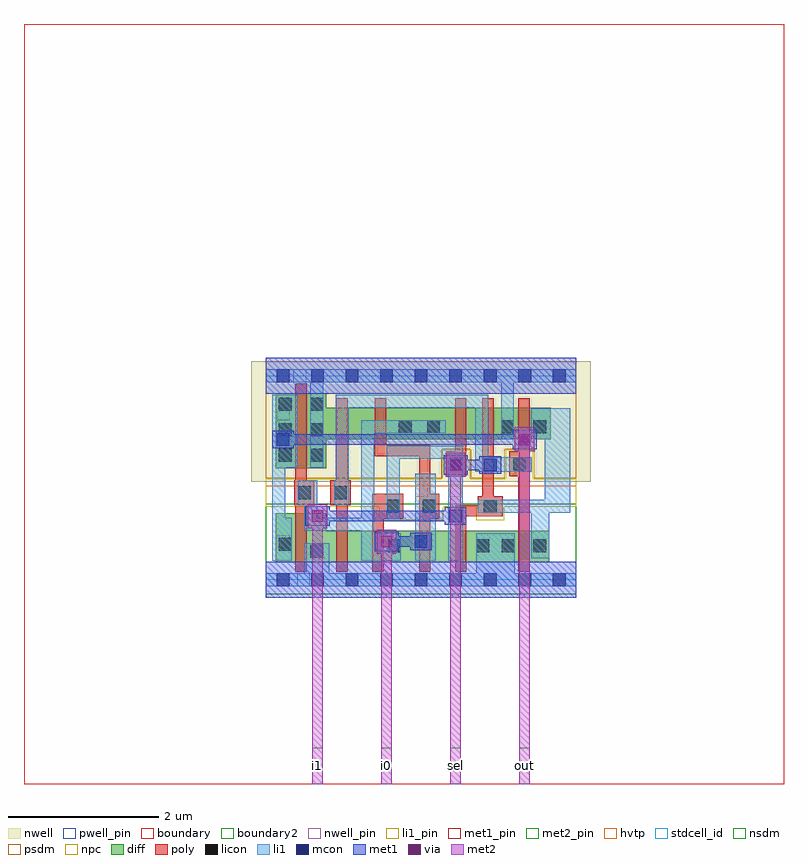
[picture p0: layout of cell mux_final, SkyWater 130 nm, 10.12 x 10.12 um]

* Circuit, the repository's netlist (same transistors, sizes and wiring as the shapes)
* NGSPICE file created from mux_final.ext - technology: sky130A

.subckt sky130_fd_sc_hd__mux2_1 A0 A1 S VGND VNB VPB VPWR X
X0 VPWR a_505_21# a_535_374# VPB sky130_fd_pr__pfet_01v8_hvt ad=0.0693 pd=0.75 as=0.0441 ps=0.63 w=0.42 l=0.15
X1 a_505_21# S VPWR VPB sky130_fd_pr__pfet_01v8_hvt ad=0.1176 pd=1.4 as=0.0693 ps=0.75 w=0.42 l=0.15
X2 a_218_374# S VPWR VPB sky130_fd_pr__pfet_01v8_hvt ad=0.07665 pd=0.785 as=0.15835 ps=1.395 w=0.42 l=0.15
X3 VGND a_505_21# a_439_47# VNB sky130_fd_pr__nfet_01v8 ad=0.1449 pd=1.11 as=0.0693 ps=0.75 w=0.42 l=0.15
X4 a_76_199# A0 a_218_374# VPB sky130_fd_pr__pfet_01v8_hvt ad=0.1932 pd=1.34 as=0.07665 ps=0.785 w=0.42 l=0.15
X5 a_505_21# S VGND VNB sky130_fd_pr__nfet_01v8 ad=0.1092 pd=1.36 as=0.1449 ps=1.11 w=0.42 l=0.15
X6 a_439_47# A0 a_76_199# VNB sky130_fd_pr__nfet_01v8 ad=0.0693 pd=0.75 as=0.09975 ps=0.895 w=0.42 l=0.15
X7 a_535_374# A1 a_76_199# VPB sky130_fd_pr__pfet_01v8_hvt ad=0.0441 pd=0.63 as=0.1932 ps=1.34 w=0.42 l=0.15
X8 a_76_199# A1 a_218_47# VNB sky130_fd_pr__nfet_01v8 ad=0.09975 pd=0.895 as=0.0693 ps=0.75 w=0.42 l=0.15
X9 a_218_47# S VGND VNB sky130_fd_pr__nfet_01v8 ad=0.0693 pd=0.75 as=0.11285 ps=1.045 w=0.42 l=0.15
X10 VPWR a_76_199# X VPB sky130_fd_pr__pfet_01v8_hvt ad=0.15835 pd=1.395 as=0.26 ps=2.52 w=1 l=0.15
X11 VGND a_76_199# X VNB sky130_fd_pr__nfet_01v8 ad=0.11285 pd=1.045 as=0.169 ps=1.82 w=0.65 l=0.15
.ends

.subckt mux_final i0 i1 out sel
X_4_ i0 i1 sel _4_/VGND VSUBS _4_/VPB _4_/VPWR out sky130_fd_sc_hd__mux2_1
.ends

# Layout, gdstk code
import gdstk
lib = gdstk.Library(unit=1e-6, precision=1e-09)
def R(c, l, rs):  # rectangles x0, y0, x1, y1
    for r in rs: c.add(gdstk.rectangle(r[:2], r[2:], *l))
def A(c, l, x, y, w, h, nx, ny, dx, dy):  # array of equal rectangles
    R(c, l, [(x+i*dx, y+j*dy, x+i*dx+w, y+j*dy+h) for i in range(nx) for j in range(ny)])
def P(c, l, *ps):  # polygons
    for p in ps: c.add(gdstk.Polygon(p, *l))
nwell_pin = (64, 16)
nwell = (64, 20)
diff = (65, 20)
poly = (66, 20)
licon = (66, 44)
li1_pin = (67, 16)
li1 = (67, 20)
mcon = (67, 44)
met1_pin = (68, 16)
met1 = (68, 20)
via = (68, 44)
met2_pin = (69, 16)
met2 = (69, 20)
hvtp = (78, 44)
stdcell_id = (81, 4)
nsdm = (93, 44)
psdm = (94, 20)
npc = (95, 20)
pwell_pin = (122, 16)
boundary = (235, 4)
boundary2 = (236, 0)

sky130_fd_sc_hd__mux2_1 = lib.new_cell('sky130_fd_sc_hd__mux2_1')
R(sky130_fd_sc_hd__mux2_1, nwell_pin, [(0.37,2.635,0.54,2.805)])
R(sky130_fd_sc_hd__mux2_1, nwell, [(-0.19,1.305,4.33,2.91)])
P(sky130_fd_sc_hd__mux2_1, diff, [(3.775,0.655),(0.805,0.655),(0.805,0.885),(0.135,0.885),(0.135,0.235),(3.775,0.235)],
  [(3.795,2.29),(0.805,2.29),(0.805,2.485),(0.135,2.485),(0.135,1.485),(0.805,1.485),(0.805,1.87),(3.795,1.87)])
P(sky130_fd_sc_hd__mux2_1, poly, [(0.65,1.325),(0.545,1.325),(0.545,2.615),(0.395,2.615),(0.395,1.325),(0.38,1.325),(0.38,0.995),(0.395,0.995),(0.395,0.105),(0.545,0.105),(0.545,0.995),(0.65,0.995)],
  [(1.13,1.325),(1.09,1.325),(1.09,2.42),(0.94,2.42),(0.94,1.325),(0.86,1.325),(0.86,0.995),(0.94,0.995),(0.94,0.105),(1.09,0.105),(1.09,0.995),(1.13,0.995)],
  [(3.515,2.42),(3.365,2.42),(3.365,1.71),(3.245,1.71),(3.245,1.38),(3.365,1.38),(3.365,0.105),(3.515,0.105)],
  [(3.155,1.115),(3.035,1.115),(3.035,2.42),(2.885,2.42),(2.885,1.115),(2.825,1.115),(2.825,0.995),(2.525,0.995),(2.525,0.105),(2.675,0.105),(2.675,0.845),(3.155,0.845)],
  [(2.675,2.42),(2.525,2.42),(2.525,1.71),(2.405,1.71),(2.405,1.38),(2.675,1.38)],
  [(1.835,1.145),(1.42,1.145),(1.42,0.105),(1.57,0.105),(1.57,0.815),(1.835,0.815)],
  [(2.315,1.145),(2.195,1.145),(2.195,1.795),(1.605,1.795),(1.605,2.42),(1.455,2.42),(1.455,1.645),(2.045,1.645),(2.045,0.105),(2.195,0.105),(2.195,0.815),(2.315,0.815)])
A(sky130_fd_sc_hd__mux2_1, licon, 0.175, 1.575, 0.17, 0.17, 1, 3, 0, 0.34)
A(sky130_fd_sc_hd__mux2_1, licon, 0.595, 1.575, 0.17, 0.17, 1, 3, 0, 0.34)
R(sky130_fd_sc_hd__mux2_1, licon, [(0.595,0.295,0.765,0.465), (1.63,0.37,1.8,0.54), (2.805,0.37,2.975,0.54), (3.145,0.37,3.315,0.54), (3.565,0.37,3.735,0.54), (0.175,0.39,0.345,0.56), (1.615,0.895,1.785,1.065), (2.095,0.895,2.265,1.065), (2.905,0.895,3.075,1.065), (0.43,1.075,0.6,1.245), (0.91,1.075,1.08,1.245), (2.455,1.46,2.625,1.63), (3.295,1.46,3.465,1.63), (1.775,1.955,1.945,2.125), (2.15,1.955,2.32,2.125), (3.135,1.955,3.305,2.125), (3.565,1.955,3.735,2.125)])
R(sky130_fd_sc_hd__mux2_1, li1_pin, [(0.15,0.425,0.32,0.595), (2.45,0.765,2.62,0.935), (1.99,1.105,2.16,1.275), (2.45,1.105,2.62,1.275), (2.91,1.445,3.08,1.615), (3.37,1.445,3.54,1.615), (0.15,1.785,0.32,1.955), (0.15,2.125,0.32,2.295)])
R(sky130_fd_sc_hd__mux2_1, li1, [(1.99,0.255,2.265,1.415)])
P(sky130_fd_sc_hd__mux2_1, li1, [(4.14,0.085),(3.315,0.085),(3.315,0.62),(2.805,0.62),(2.805,0.085),(0.845,0.085),(0.845,0.485),(0.515,0.485),(0.515,0.085),(0,0.085),(0,-0.085),(4.14,-0.085)],
  [(4.14,2.805),(0,2.805),(0,2.635),(0.595,2.635),(0.595,1.495),(0.765,1.495),(0.765,2.635),(3.135,2.635),(3.135,1.875),(3.305,1.875),(3.305,2.635),(4.14,2.635)],
  [(0.425,2.465),(0.09,2.465),(0.09,0.255),(0.345,0.255),(0.345,0.825),(0.26,0.825),(0.26,1.495),(0.425,1.495)],
  [(2.4,2.125),(1.275,2.125),(1.275,0.825),(0.685,0.825),(0.685,1.325),(0.43,1.325),(0.43,0.995),(0.515,0.995),(0.515,0.655),(1.27,0.655),(1.27,0.255),(1.8,0.255),(1.8,0.62),(1.445,0.62),(1.445,1.955),(2.4,1.955)],
  [(2.625,1.785),(1.615,1.785),(1.615,0.815),(1.785,0.815),(1.785,1.615),(2.435,1.615),(2.435,0.255),(2.625,0.255)],
  [(3.545,1.63),(2.965,1.63),(2.965,2.465),(0.935,2.465),(0.935,1.325),(0.91,1.325),(0.91,0.995),(1.105,0.995),(1.105,2.295),(2.795,2.295),(2.795,1.44),(3.545,1.44)],
  [(4.055,2.285),(3.54,2.285),(3.54,1.875),(3.715,1.875),(3.715,1.065),(2.825,1.065),(2.825,0.895),(3.535,0.895),(3.535,0.29),(3.78,0.29),(3.78,0.895),(4.055,0.895)])
A(sky130_fd_sc_hd__mux2_1, mcon, 0.145, -0.085, 0.17, 0.17, 9, 2, 0.46, 2.72)
R(sky130_fd_sc_hd__mux2_1, met1_pin, [(0.15,-0.085,0.32,0.085), (0.15,2.635,0.32,2.805)])
R(sky130_fd_sc_hd__mux2_1, hvtp, [(0,1.25,4.14,2.72)])
R(sky130_fd_sc_hd__mux2_1, stdcell_id, [(0,0,4.14,2.72)])
R(sky130_fd_sc_hd__mux2_1, nsdm, [(0,-0.19,4.14,1.015)])
P(sky130_fd_sc_hd__mux2_1, psdm, [(4.14,2.91),(0,2.91),(0,1.355),(2.345,1.355),(2.345,1.74),(2.735,1.74),(2.735,1.355),(3.185,1.355),(3.185,1.74),(3.575,1.74),(3.575,1.355),(4.14,1.355)])
P(sky130_fd_sc_hd__mux2_1, npc, [(4.14,1.345),(3.565,1.345),(3.565,1.73),(3.195,1.73),(3.195,1.345),(2.725,1.345),(2.725,1.73),(2.355,1.73),(2.355,1.345),(0,1.345),(0,0.975),(1.515,0.975),(1.515,0.795),(2.365,0.795),(2.365,0.975),(2.805,0.975),(2.805,0.795),(3.175,0.795),(3.175,0.975),(4.14,0.975)])
R(sky130_fd_sc_hd__mux2_1, pwell_pin, [(0.42,-0.085,0.59,0.085)])
R(sky130_fd_sc_hd__mux2_1, boundary2, [(0,0,4.14,2.72)])
sky130_fd_sc_hd__mux2_1.add(gdstk.FlexPath([(0,2.72),(4.14,2.72)], 0.48, ends="flush", simple_path=True, layer=68, datatype=20))  # met1
sky130_fd_sc_hd__mux2_1.add(gdstk.FlexPath([(0,0),(4.14,0)], 0.48, ends="flush", simple_path=True, layer=68, datatype=20))  # met1
sky130_fd_sc_hd__mux2_1.add(gdstk.Label('VGND', (0.235,0), layer=68, texttype=5))
sky130_fd_sc_hd__mux2_1.add(gdstk.Label('VPWR', (0.235,2.72), layer=68, texttype=5))
sky130_fd_sc_hd__mux2_1.add(gdstk.Label('S', (3.455,1.53), layer=67, texttype=5))
sky130_fd_sc_hd__mux2_1.add(gdstk.Label('S', (2.995,1.53), layer=67, texttype=5))
sky130_fd_sc_hd__mux2_1.add(gdstk.Label('A1', (2.535,0.85), layer=67, texttype=5))
sky130_fd_sc_hd__mux2_1.add(gdstk.Label('A1', (2.535,1.19), layer=67, texttype=5))
sky130_fd_sc_hd__mux2_1.add(gdstk.Label('A0', (2.075,1.19), layer=67, texttype=5))
sky130_fd_sc_hd__mux2_1.add(gdstk.Label('X', (0.235,0.51), layer=67, texttype=5))
sky130_fd_sc_hd__mux2_1.add(gdstk.Label('X', (0.235,1.87), layer=67, texttype=5))
sky130_fd_sc_hd__mux2_1.add(gdstk.Label('X', (0.235,2.21), layer=67, texttype=5))
sky130_fd_sc_hd__mux2_1.add(gdstk.Label('VPB', (0.455,2.72), layer=64, texttype=5))
sky130_fd_sc_hd__mux2_1.add(gdstk.Label('VNB', (0.505,0), layer=64, texttype=59))
sky130_fd_sc_hd__mux2_1.add(gdstk.Label('mux2_1', (0,0), layer=83, texttype=44))

mux_final = lib.new_cell('mux_final')
R(mux_final, li1, [(5.205,3.145,5.375,3.315), (5.665,3.485,5.835,3.655), (6.125,4.165,6.295,4.335), (3.365,4.505,3.535,4.675)])
R(mux_final, mcon, [(5.205,3.145,5.375,3.315), (5.665,3.485,5.835,3.655), (6.125,4.165,6.295,4.335), (3.365,4.505,3.535,4.675)])
R(mux_final, met1, [(4.67,3.1,4.99,3.16), (5.145,3.115,5.435,3.16), (4.67,3.16,5.435,3.3), (4.67,3.3,4.99,3.36), (5.145,3.3,5.435,3.345), (3.75,3.44,4.07,3.5), (5.605,3.455,5.895,3.5), (3.75,3.5,5.895,3.64), (3.75,3.64,4.07,3.7), (5.605,3.64,5.895,3.685), (5.59,4.12,5.91,4.18), (6.065,4.135,6.355,4.18), (5.59,4.18,6.355,4.32), (5.59,4.32,5.91,4.38), (6.065,4.32,6.355,4.365), (6.51,4.46,6.83,4.52), (3.305,4.475,3.595,4.52), (3.305,4.52,6.83,4.66), (3.305,4.66,3.595,4.705), (6.51,4.66,6.83,4.72)])
R(mux_final, via, [(4.755,3.155,4.905,3.305), (3.835,3.495,3.985,3.645), (5.675,4.175,5.825,4.325), (6.595,4.515,6.745,4.665)])
A(mux_final, met2_pin, 3.84, 0, 0.14, 0.485, 4, 1, 0.92, 0)
R(mux_final, met2, [(3.84,0,3.98,3.41), (4.76,0,4.9,3.07), (5.68,0,5.82,4.09), (6.6,0,6.74,4.43), (4.7,3.07,4.96,3.39), (3.78,3.41,4.04,3.73), (5.62,4.09,5.88,4.41), (6.54,4.43,6.8,4.75)])
R(mux_final, boundary, [(0,0,10.125,10.125)])
mux_final.add(gdstk.Reference(sky130_fd_sc_hd__mux2_1, (3.22,2.72)))
mux_final.add(gdstk.Label('i0', (4.83,0.242), layer=69, texttype=5))
mux_final.add(gdstk.Label('i1', (3.91,0.242), layer=69, texttype=5))
mux_final.add(gdstk.Label('out', (6.67,0.242), layer=69, texttype=5))
mux_final.add(gdstk.Label('sel', (5.75,0.242), layer=69, texttype=5))

lib.write_gds('mux_final.gds')
